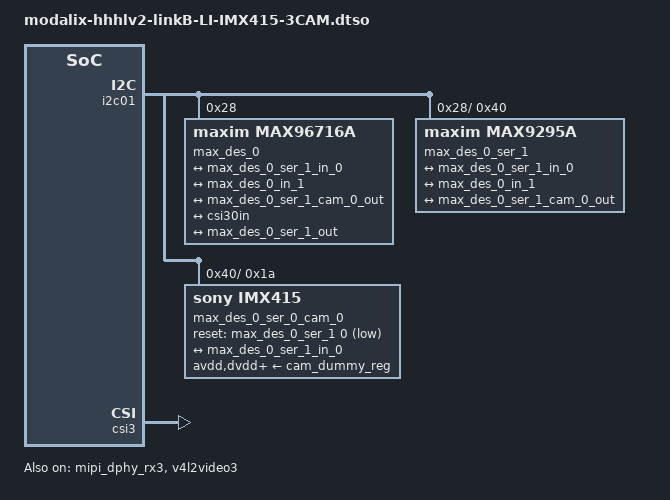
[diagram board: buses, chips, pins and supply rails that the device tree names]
// SPDX-License-Identifier: (GPL-2.0+ OR MIT)
/*
 * Copyright (c) 2026 SiMa ai
 */

/dts-v1/;
/plugin/;

&{/} {
	max_des_0_ser_1_cam_0_xclk: max_des_0_ser_1_cam_0_xclk {
		status = "okay";
		compatible = "fixed-clock";
		#clock-cells = <0>;
		clock-frequency = <37125000>;
	};
};

&i2c01 {
	max_des_0: gmsl-deserializer@28 {
		#address-cells = <1>;
		#size-cells = <0>;

		compatible = "maxim,max96716a";
		reg = <0x28>;
	};
};

&max_des_0 {
	i2c-alias-pool = <0x44 0x45 0x46 0x47>;
	max_des_0_i2c_adapter: i2c-atr {
		#address-cells = <1>;
		#size-cells = <0>;
	};

	ports {
		#address-cells = <1>;
		#size-cells = <0>;
	};
};

&max_des_0 {
	ports {
		port@3 {
			reg = <3>;
			max_des_0_phy_out: endpoint@0 {
				reg = <0>;
				clock-lanes = <0>;
				data-lanes = <1 2 3 4>;
				link-frequencies = /bits/ 64 <500000000>;
			};
		};
	};
};

&max_des_0 {
    simaai,ipi-enable-delay-ms = <200>;
};

&csi3 {
	status = "okay";
};

&csi30in{
	clock-lanes = <0>;
	data-lanes = <1 2 3 4>;
	link-frequencies = /bits/ 64 <500000000>;
	remote-endpoint = <&max_des_0_phy_out>;
};

&max_des_0_phy_out {
	remote-endpoint = <&csi30in>;
};

&max_des_0_i2c_adapter {
	max_des_0_i2c_1: i2c@1 {
		#address-cells = <1>;
		#size-cells = <0>;
		reg = <0x1>;
	};
};

&max_des_0_i2c_1 {
	max_des_0_ser_1: gmsl-serializer@40 {
		#address-cells = <1>;
		#size-cells = <0>;
		#gpio-cells = <2>;

		compatible = "maxim,max9295a";
		reg = <0x40>;

		gpio-controller;
		gpio-ranges = <&max_des_0_ser_1 0 0 11>;
	};
};

&max_des_0_ser_1 {
	i2c-alias-pool = <0x48 0x49>;
	i2c-atr {
		#address-cells = <1>;
		#size-cells = <0>;

		max_des_0_ser_1_i2c_0: i2c@0 {
			#address-cells = <1>;
			#size-cells = <0>;
			reg = <0x0>;
		};
	};

	ports {
		#address-cells = <1>;
		#size-cells = <0>;

		port@1 {
			reg = <1>;
			max_des_0_ser_1_out: endpoint@0 {
				reg = <0>;
				remote-endpoint = <&max_des_0_in_1>;
			};
		};
	};
};

&max_des_0 {
	ports {
		port@1 {
			reg = <1>;
			max_des_0_in_1: endpoint@0 {
				reg = <0>;
				remote-endpoint = <&max_des_0_ser_1_out>;
			};
		};
	};
};

&max_des_0_ser_1_i2c_0 {
	max_des_0_ser_0_cam_0: imx415@1a {
		compatible = "sony,imx415";
		reg = <0x1a>;

		reset-gpios = <&max_des_0_ser_1 0 1>;

		clocks = <&max_des_0_ser_1_cam_0_xclk>;
		clock-names = "inck";

		avdd-supply = <&cam_dummy_reg>;
		dvdd-supply = <&cam_dummy_reg>;
		ovdd-supply = <&cam_dummy_reg>;

		rotation = <180>;
		orientation = <2>;

		port@1 {
			max_des_0_ser_1_cam_0_out: endpoint@0 {
				clock-lanes = <0>;
				data-lanes = <1 2 3 4>;
				link-frequencies = /bits/ 64 <445500000>;
				remote-endpoint = <&max_des_0_ser_1_in_0>;
				clock-continuous;
			};
		};
	};
};

&max_des_0_ser_1 {
	ports {
		port@0 {
			reg = <0>;
			max_des_0_ser_1_in_0: endpoint@0 {
				reg = <0>;
				clock-lanes = <0>;
				data-lanes = <1 2 3 4>;
				link-frequencies = /bits/ 64 <445500000>;
				remote-endpoint = <&max_des_0_ser_1_cam_0_out>;
				clock-continuous;
			};
		};
	};
};

&axi_vdma3 {
	status = "okay";
};

&mipi_dphy_rx3 {
	status = "okay";
};

&v4l2video3 {
	status = "okay";
};

&v4l2vdma3 {
	status = "okay";
};
